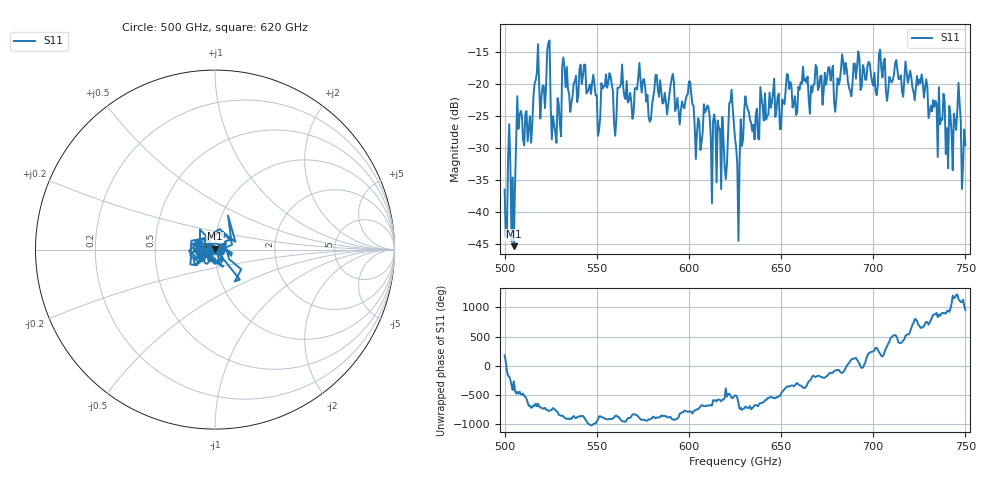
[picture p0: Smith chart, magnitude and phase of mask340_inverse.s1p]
!Created with skrf (http://scikit-rf.org).
# GHz S MA R 50.0
!freq magS11 angS11
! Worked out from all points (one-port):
!   401 points, 500 GHz to 750 GHz, reference 50 ohm
!   lowest |S11| = -45.4 dB at 505 GHz (marker M1), VSWR 1.01, Z = 50 + j0.539 ohm
!   |S11| at or under -10 dB: start of sweep to end of sweep
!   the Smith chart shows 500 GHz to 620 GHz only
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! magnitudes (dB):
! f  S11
! 500 GHz  -36.5
! 503.1 GHz  -32.7
! 505 GHz  -45.4
! 507.5 GHz  -27.1
! 513.8 GHz  -25.1
! 516.9 GHz  -19.5
! 520.6 GHz  -20.3
! 523.8 GHz  -13.6
! 526.9 GHz  -26.5
! 531.2 GHz  -17.3
! 542.5 GHz  -18.8
! 550.6 GHz  -28.2
! 562.5 GHz  -20.5
! 593.8 GHz  -22.2
! 600 GHz  -19.7
! 605 GHz  -25.4
! 609.4 GHz  -24.1
! 618.8 GHz  -28.7
! 623.1 GHz  -21.0
! 625 GHz  -28.5
! 626.2 GHz  -32.7
! 631.2 GHz  -23.3
! 656.2 GHz  -23.7
! 687.5 GHz  -21.2
! 718.8 GHz  -19.9
! 741.9 GHz  -24.9
! 746.2 GHz  -19.9
! 750 GHz  -29.6
